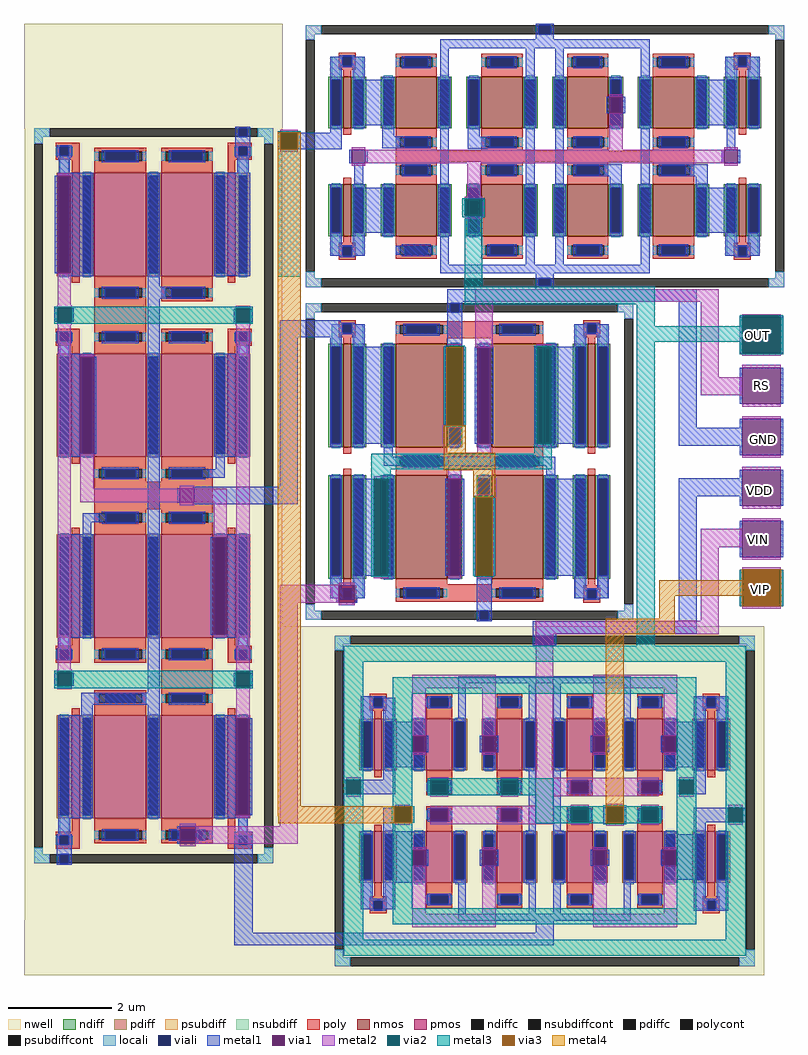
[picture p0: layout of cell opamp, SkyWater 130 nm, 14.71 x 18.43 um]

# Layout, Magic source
magic
tech sky130A
magscale 1 2
<< nwell >>
rect -2443 2244 -1441 2650
rect -1499 320 -1444 510
rect -1499 316 -1442 320
rect -1499 -624 -1242 316
rect -2440 -628 -1242 -624
rect -2441 -823 -1242 -628
rect -2442 -859 423 -823
rect -2443 -866 423 -859
rect -2443 -1036 -1276 -866
<< metal1 >>
rect -1258 2228 -1212 2253
rect -1460 2164 -1450 2228
rect -1382 2164 -1212 2228
rect -1004 1755 -865 1790
rect -461 1622 -391 1634
rect -804 1573 162 1622
rect -1452 1436 -1216 1502
rect -1452 857 -1382 1436
rect 92 1085 162 1573
rect 328 1374 338 1515
rect 488 1374 498 1515
rect 328 1177 338 1318
rect 488 1177 498 1318
rect 328 1085 338 1120
rect 92 1015 338 1085
rect 328 979 338 1015
rect 488 979 498 1120
rect 328 889 338 923
rect -1790 851 -1382 857
rect -1850 795 -1840 851
rect -1784 795 -1382 851
rect -1790 788 -1382 795
rect 92 819 338 889
rect -1234 408 -1224 475
rect -1162 408 -1152 475
rect 92 336 162 819
rect 328 782 338 819
rect 488 782 498 923
rect 328 584 338 725
rect 488 584 498 725
rect 328 394 338 535
rect 488 394 498 535
rect 379 393 449 394
rect -473 287 162 336
rect -473 285 -382 287
rect -199 -446 -189 -382
rect -121 -446 -111 -382
rect -1850 -526 -1840 -459
rect -1778 -526 -1768 -459
rect -1628 -870 -1558 -479
rect -462 -870 -392 -812
rect -1628 -919 -392 -870
<< via1 >>
rect -1450 2164 -1382 2228
rect 338 1374 488 1515
rect 338 1177 488 1318
rect 338 979 488 1120
rect -1840 795 -1784 851
rect -1224 408 -1162 475
rect 338 782 488 923
rect 338 584 488 725
rect 338 394 488 535
rect -189 -446 -121 -382
rect -1840 -526 -1778 -459
<< metal2 >>
rect -1450 2228 -1382 2238
rect -1450 2154 -1382 2164
rect -736 1969 -668 1979
rect -736 1895 -668 1905
rect -695 1573 247 1622
rect -695 1394 -627 1573
rect 177 1280 247 1573
rect 338 1515 488 1525
rect 338 1364 488 1374
rect 338 1318 488 1328
rect 177 1210 338 1280
rect 338 1167 488 1177
rect 338 1120 488 1130
rect 338 969 488 979
rect 338 923 488 933
rect -1840 851 -1784 861
rect -1840 785 -1784 795
rect 338 772 488 782
rect 338 725 488 735
rect 177 623 338 693
rect -1224 476 -1162 485
rect -1452 475 -1162 476
rect -1452 408 -1224 475
rect -1452 407 -1162 408
rect -1840 -458 -1778 -449
rect -1452 -458 -1382 407
rect -1224 398 -1162 407
rect 177 337 247 623
rect 338 574 488 584
rect 338 535 488 545
rect 338 384 488 394
rect -461 286 247 337
rect -461 -273 -393 286
rect -189 -382 -121 -372
rect -189 -456 -121 -446
rect -1840 -459 -1382 -458
rect -1778 -526 -1382 -459
rect -1840 -527 -1382 -526
rect -1840 -536 -1778 -527
<< via2 >>
rect -1450 2164 -1382 2228
rect -736 1905 -668 1969
rect 338 1374 488 1515
rect -189 -446 -121 -382
<< metal3 >>
rect -1460 2228 -1372 2233
rect -1460 2164 -1450 2228
rect -1382 2164 -1372 2228
rect -1460 1669 -1372 2164
rect -746 1969 -658 1974
rect -746 1905 -736 1969
rect -668 1905 -658 1969
rect -746 1900 -658 1905
rect -736 1632 -668 1900
rect -736 1564 0 1632
rect -70 1478 0 1564
rect 328 1515 498 1520
rect 328 1478 338 1515
rect -70 1418 338 1478
rect -70 178 0 1418
rect 328 1374 338 1418
rect 488 1374 498 1515
rect 328 1369 498 1374
rect 328 394 338 535
rect 488 394 498 535
rect -1019 -445 -1009 -381
rect -941 -445 -931 -381
rect -199 -382 -111 -377
rect -199 -446 -189 -382
rect -121 -446 -111 -382
rect -199 -451 -111 -446
<< via3 >>
rect -1450 2164 -1382 2228
rect 338 394 488 535
rect -1009 -445 -941 -381
rect -189 -446 -121 -382
<< metal4 >>
rect -1460 2228 -1372 2229
rect -1460 2164 -1450 2228
rect -1382 2164 -1372 2228
rect -1460 -380 -1372 2164
rect 337 535 489 536
rect 337 494 338 535
rect 17 434 338 494
rect 17 346 77 434
rect 337 394 338 434
rect 488 394 489 535
rect 337 393 489 394
rect -190 286 77 346
rect -1460 -381 -940 -380
rect -1460 -417 -1009 -381
rect -1459 -445 -1009 -417
rect -941 -445 -940 -381
rect -1459 -446 -940 -445
rect -190 -382 -120 286
rect -190 -446 -189 -382
rect -121 -446 -120 -382
rect -190 -447 -120 -446
use nmoscs  nmoscs_0
transform 1 0 -1090 0 1 404
box -262 -68 1006 1169
use nmosds  nmosds_0
transform -1 0 210 0 -1 2533
box -290 -116 1562 910
use pmoscs2  pmoscs2_0
transform 1 0 -979 0 -1 58
box -297 -258 1402 1094
use pmoscs  pmoscs_0
transform 1 0 -2261 0 1 366
box -179 -1003 819 1915
<< labels >>
flabel metal3 395 1444 398 1444 0 FreeSans 480 0 0 0 OUT
port 1 nsew
flabel via1 414 1250 414 1250 0 FreeSans 480 0 0 0 RS
port 2 nsew
flabel via1 420 1040 420 1040 0 FreeSans 480 0 0 0 GND
port 3 nsew
flabel via1 406 843 406 843 0 FreeSans 480 0 0 0 VDD
port 4 nsew
flabel via1 403 654 403 654 0 FreeSans 480 0 0 0 VIN
port 5 nsew
flabel via3 409 458 409 458 0 FreeSans 480 0 0 0 VIP
port 7 nsew
<< end >>

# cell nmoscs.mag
magic
tech sky130A
magscale 1 2
<< psubdiff >>
rect -262 1129 -202 1163
rect 946 1129 1006 1163
rect -262 1102 -228 1129
rect 972 1102 1006 1129
rect -262 -28 -228 -2
rect 972 -28 1006 -2
rect -262 -62 -202 -28
rect 946 -62 1006 -28
<< psubdiffcont >>
rect -202 1129 946 1163
rect -262 -2 -228 1102
rect 972 -2 1006 1102
rect -202 -62 946 -28
<< poly >>
rect -134 1082 -68 1098
rect -134 1048 -118 1082
rect -84 1048 -68 1082
rect -134 1032 -68 1048
rect -116 1006 -86 1032
rect 286 1028 458 1094
rect 812 1082 878 1098
rect 812 1048 828 1082
rect 862 1048 878 1082
rect 812 1032 878 1048
rect 270 518 474 584
rect -133 54 -67 70
rect -133 20 -117 54
rect -83 20 -67 54
rect -133 4 -67 20
rect 286 8 458 74
rect 813 54 879 70
rect 813 20 829 54
rect 863 20 879 54
rect 813 4 879 20
<< polycont >>
rect -118 1048 -84 1082
rect 828 1048 862 1082
rect -117 20 -83 54
rect 829 20 863 54
<< locali >>
rect -262 1129 -202 1163
rect 946 1129 1006 1163
rect -262 1102 -228 1129
rect 972 1102 1006 1129
rect -162 1048 -118 1082
rect -84 1048 -40 1082
rect -162 1006 -128 1048
rect -76 1032 -40 1048
rect -74 1006 -40 1032
rect 784 1048 828 1082
rect 862 1048 906 1082
rect 784 1010 818 1048
rect 870 1032 906 1048
rect 872 1010 906 1032
rect -162 70 -128 108
rect -74 70 -40 96
rect -162 54 -127 70
rect -75 54 -40 70
rect -162 20 -117 54
rect -83 20 -40 54
rect 782 54 819 108
rect 871 54 908 108
rect 782 20 829 54
rect 863 20 908 54
rect -262 -28 -228 -2
rect 972 -28 1006 -2
rect -262 -62 -202 -28
rect 946 -62 1006 -28
<< viali >>
rect 298 1129 332 1163
rect -118 1048 -84 1082
rect 828 1048 862 1082
rect -117 20 -83 54
rect 829 20 863 54
rect 412 -62 446 -28
<< metal1 >>
rect 286 1163 344 1169
rect 286 1129 298 1163
rect 332 1129 344 1163
rect -130 1082 -72 1088
rect -168 1048 -118 1082
rect -84 1081 -67 1082
rect -84 1048 -34 1081
rect -168 1042 -34 1048
rect -168 1006 -122 1042
rect -81 1032 -34 1042
rect -80 1006 -34 1032
rect 286 994 344 1129
rect 816 1082 874 1088
rect 778 1048 828 1082
rect 862 1081 879 1082
rect 862 1048 912 1081
rect 778 1042 912 1048
rect 778 1006 824 1042
rect 865 1032 912 1042
rect 866 1006 912 1032
rect -74 618 65 994
rect 279 690 289 994
rect 341 690 351 994
rect 393 618 403 994
rect 455 618 465 994
rect 624 618 634 994
rect 686 618 791 994
rect 31 606 65 618
rect 40 568 74 606
rect 40 534 704 568
rect 670 484 704 534
rect -74 108 2 484
rect 58 108 74 484
rect 279 108 289 484
rect 341 108 351 484
rect 393 108 403 412
rect 455 108 465 412
rect 670 108 818 484
rect -168 60 -122 108
rect -80 60 -34 108
rect -168 54 -34 60
rect -168 20 -117 54
rect -83 20 -34 54
rect -129 14 -71 20
rect 400 -28 458 108
rect 778 60 824 108
rect 866 60 912 108
rect 778 54 912 60
rect 778 20 829 54
rect 863 20 912 54
rect 817 14 875 20
rect 400 -62 412 -28
rect 446 -62 458 -28
rect 400 -68 458 -62
<< via1 >>
rect 289 690 341 994
rect 403 618 455 994
rect 634 618 686 994
rect 2 108 58 484
rect 289 108 341 484
rect 403 108 455 412
<< metal2 >>
rect 287 994 343 1004
rect 287 680 343 690
rect 403 994 455 1004
rect 403 572 455 618
rect 632 994 688 1004
rect 632 608 688 618
rect 289 530 455 572
rect 2 484 58 494
rect 2 98 58 108
rect 289 484 341 530
rect 289 98 341 108
rect 401 412 457 422
rect 401 98 457 108
<< via2 >>
rect 287 690 289 994
rect 289 690 341 994
rect 341 690 343 994
rect 632 618 634 994
rect 634 618 686 994
rect 686 618 688 994
rect 2 108 58 484
rect 401 108 403 412
rect 403 108 455 412
rect 455 108 457 412
<< metal3 >>
rect 277 994 353 999
rect 622 994 698 999
rect 273 690 283 994
rect 347 690 357 994
rect 277 685 353 690
rect 622 618 632 994
rect 688 618 698 994
rect 622 613 698 618
rect 622 580 690 613
rect -8 520 690 580
rect -8 484 68 520
rect -8 108 2 484
rect 58 108 68 484
rect 391 412 467 417
rect 387 108 397 412
rect 461 108 471 412
rect -8 103 68 108
rect 391 103 467 108
<< via3 >>
rect 283 690 287 994
rect 287 690 343 994
rect 343 690 347 994
rect 397 108 401 412
rect 401 108 457 412
rect 457 108 461 412
<< metal4 >>
rect 282 994 348 995
rect 282 690 283 994
rect 347 690 348 994
rect 273 585 357 690
rect 273 517 471 585
rect 387 412 471 517
rect 396 108 397 412
rect 461 108 462 412
rect 396 107 462 108
use sky130_fd_pr__nfet_01v8_4HFSKE  sky130_fd_pr__nfet_01v8_4HFSKE_0
transform 1 0 845 0 1 806
box -73 -226 73 226
use sky130_fd_pr__nfet_01v8_4HFSKE  sky130_fd_pr__nfet_01v8_4HFSKE_1
transform 1 0 -101 0 1 806
box -73 -226 73 226
use sky130_fd_pr__nfet_01v8_4HFSKE  sky130_fd_pr__nfet_01v8_4HFSKE_2
transform 1 0 -101 0 1 296
box -73 -226 73 226
use sky130_fd_pr__nfet_01v8_4HFSKE  sky130_fd_pr__nfet_01v8_4HFSKE_3
transform 1 0 845 0 1 296
box -73 -226 73 226
use sky130_fd_pr__nfet_01v8_QCS68M  sky130_fd_pr__nfet_01v8_QCS68M_0
transform 1 0 372 0 1 551
box -344 -543 344 543
<< labels >>
flabel space 153 812 161 817 0 FreeSans 320 0 0 0 M3
flabel via1 306 892 314 897 0 FreeSans 320 0 0 0 S3
flabel space 552 819 560 824 0 FreeSans 320 0 0 0 M4
flabel space 553 329 561 334 0 FreeSans 320 0 0 0 M3
flabel space 189 323 197 328 0 FreeSans 320 0 0 0 M4
flabel via1 310 394 318 399 0 FreeSans 320 0 0 0 S4
flabel via1 424 894 432 899 0 FreeSans 320 0 0 0 S4
flabel via1 426 405 434 410 0 FreeSans 320 0 0 0 S3
flabel via1 656 900 664 905 0 FreeSans 320 0 0 0 D4
flabel metal1 685 395 693 400 0 FreeSans 320 0 0 0 D3
flabel metal1 54 830 54 830 0 FreeSans 320 0 0 0 D3
flabel metal1 2 745 2 745 0 FreeSans 320 0 0 0 D3
port 1 nsew
flabel metal2 427 595 427 595 0 FreeSans 320 0 0 0 RS
port 2 nsew
flabel metal3 678 588 678 588 0 FreeSans 320 0 0 0 D4
port 4 nsew
flabel viali 431 -42 431 -42 0 FreeSans 320 0 0 0 GND
port 6 nsew
<< end >>

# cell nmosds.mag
magic
tech sky130A
magscale 1 2
<< psubdiff >>
rect -290 870 -230 904
rect 1502 870 1562 904
rect -290 844 -256 870
rect 1528 844 1562 870
rect -290 -76 -256 -54
rect 1528 -76 1562 -54
rect -290 -110 -230 -76
rect 1502 -110 1562 -76
<< psubdiffcont >>
rect -230 870 1502 904
rect -290 -54 -256 844
rect 1528 -54 1562 844
rect -230 -110 1502 -76
<< poly >>
rect -162 782 -96 798
rect -162 748 -146 782
rect -112 748 -96 782
rect -162 732 -96 748
rect 1368 782 1434 798
rect 1368 748 1384 782
rect 1418 748 1434 782
rect 1368 732 1434 748
rect 58 376 1214 418
rect -162 46 -96 62
rect -162 12 -146 46
rect -112 12 -96 46
rect -162 -4 -96 12
rect 1368 46 1434 62
rect 1368 12 1384 46
rect 1418 12 1434 46
rect 1368 -4 1434 12
<< polycont >>
rect -146 748 -112 782
rect 1384 748 1418 782
rect -146 12 -112 46
rect 1384 12 1418 46
<< locali >>
rect -290 870 -230 904
rect 1502 870 1562 904
rect -290 844 -256 870
rect 1528 844 1562 870
rect -190 748 -146 782
rect -112 748 -68 782
rect -190 710 -156 748
rect -102 710 -68 748
rect 1340 748 1384 782
rect 1418 748 1462 782
rect 1340 710 1374 748
rect 1428 710 1462 748
rect -190 46 -156 84
rect -102 46 -68 84
rect -190 12 -146 46
rect -112 12 -68 46
rect 1340 46 1374 85
rect 1428 46 1462 85
rect 1340 12 1384 46
rect 1418 12 1462 46
rect -290 -76 -256 -54
rect 1528 -76 1562 -54
rect -290 -110 -230 -76
rect 1502 -110 1562 -76
<< viali >>
rect 613 870 659 904
rect -146 748 -112 782
rect 1384 748 1418 782
rect -146 12 -112 46
rect 1384 12 1418 46
rect 613 -110 659 -76
<< metal1 >>
rect 601 904 671 910
rect 601 870 613 904
rect 659 870 671 904
rect 601 850 671 870
rect 230 816 1042 850
rect -158 782 -100 788
rect -196 748 -146 782
rect -112 748 -62 782
rect -196 742 -62 748
rect -196 706 -150 742
rect -108 706 -62 742
rect -102 518 46 694
rect 6 474 52 518
rect 6 428 81 474
rect -121 372 -111 424
rect -59 372 -49 424
rect -102 276 -68 372
rect -102 100 46 276
rect -196 52 -150 88
rect -108 52 -62 88
rect -196 46 -62 52
rect -196 12 -146 46
rect -112 12 -62 46
rect -158 6 -100 12
rect 230 -22 264 816
rect 338 474 384 518
rect 338 428 413 474
rect 325 167 335 230
rect 387 167 397 230
rect 562 -22 596 816
rect 676 -22 710 816
rect 875 564 885 627
rect 937 564 947 627
rect 859 321 934 367
rect 888 277 934 321
rect 1008 -22 1042 816
rect 1372 782 1430 788
rect 1334 748 1384 782
rect 1418 748 1468 782
rect 1334 742 1468 748
rect 1334 706 1380 742
rect 1422 706 1468 742
rect 1226 518 1374 694
rect 1340 424 1374 518
rect 1321 372 1331 424
rect 1383 372 1393 424
rect 1191 320 1266 366
rect 1220 276 1266 320
rect 1226 100 1374 276
rect 1334 52 1380 88
rect 1422 52 1468 88
rect 1334 46 1468 52
rect 1334 12 1384 46
rect 1418 12 1468 46
rect 1372 6 1430 12
rect 230 -56 1042 -22
rect 601 -76 671 -56
rect 601 -110 613 -76
rect 659 -110 671 -76
rect 601 -116 671 -110
<< via1 >>
rect -111 372 -59 424
rect 335 167 387 230
rect 885 564 937 627
rect 1331 372 1383 424
<< metal2 >>
rect 885 627 937 637
rect -111 424 -59 434
rect 885 424 937 564
rect 1331 424 1383 434
rect -59 372 1331 424
rect -111 362 -59 372
rect 335 230 387 372
rect 1331 362 1383 372
rect 335 157 387 167
use sky130_fd_pr__nfet_01v8_9C87QP  sky130_fd_pr__nfet_01v8_9C87QP_0
transform 1 0 636 0 1 397
box -636 -397 636 397
use sky130_fd_pr__nfet_01v8_SJFSNB  sky130_fd_pr__nfet_01v8_SJFSNB_0
transform 1 0 -129 0 1 188
box -73 -126 73 126
use sky130_fd_pr__nfet_01v8_SJFSNB  sky130_fd_pr__nfet_01v8_SJFSNB_1
transform 1 0 1401 0 1 188
box -73 -126 73 126
use sky130_fd_pr__nfet_01v8_SJFSNB  sky130_fd_pr__nfet_01v8_SJFSNB_2
transform 1 0 -129 0 1 606
box -73 -126 73 126
use sky130_fd_pr__nfet_01v8_SJFSNB  sky130_fd_pr__nfet_01v8_SJFSNB_3
transform 1 0 1401 0 1 606
box -73 -126 73 126
<< labels >>
flabel space 135 607 135 607 0 FreeSans 160 0 0 0 M8
flabel space 462 605 462 605 0 FreeSans 160 0 0 0 M8
flabel space 799 195 799 195 0 FreeSans 160 0 0 0 M8
flabel space 1138 195 1138 195 0 FreeSans 160 0 0 0 M8
flabel space 1128 619 1128 619 0 FreeSans 160 0 0 0 M9
flabel space 809 615 809 615 0 FreeSans 160 0 0 0 M9
flabel space 474 191 474 191 0 FreeSans 160 0 0 0 M9
flabel space 145 193 145 193 0 FreeSans 160 0 0 0 M9
flabel space 360 615 360 615 0 FreeSans 160 0 0 0 d8
flabel space 910 199 910 199 0 FreeSans 160 0 0 0 d8
flabel metal1 1245 617 1245 617 0 FreeSans 160 0 0 0 d9
flabel via1 364 193 364 193 0 FreeSans 160 0 0 0 d9
flabel metal1 31 189 31 189 0 FreeSans 160 0 0 0 d9
flabel via1 912 611 912 611 0 FreeSans 160 0 0 0 d9
flabel metal1 31 609 31 609 0 FreeSans 160 0 0 0 d8
flabel metal1 1247 195 1247 195 0 FreeSans 160 0 0 0 d8
flabel viali 626 -90 626 -90 0 FreeSans 320 0 0 0 GND
port 1 nsew
flabel metal1 1294 617 1294 617 0 FreeSans 320 0 0 0 D9
port 2 nsew
flabel metal1 1297 183 1297 183 0 FreeSans 320 0 0 0 D8
port 4 nsew
<< end >>

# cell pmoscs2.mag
magic
tech sky130A
magscale 1 2
<< nwell >>
rect -297 -258 1402 1094
<< nsubdiff >>
rect -261 1024 -201 1058
rect 1306 1024 1366 1058
rect -261 994 -227 1024
rect 1332 994 1366 1024
rect -261 -188 -227 -166
rect 1332 -188 1366 -166
rect -261 -222 -201 -188
rect 1306 -222 1366 -188
<< nsubdiffcont >>
rect -201 1024 1306 1058
rect -261 -166 -227 994
rect 1332 -166 1366 994
rect -201 -222 1306 -188
<< poly >>
rect -126 838 -60 854
rect -126 804 -110 838
rect -76 804 -60 838
rect -126 788 -60 804
rect 1165 838 1231 854
rect 1165 804 1181 838
rect 1215 804 1231 838
rect 1165 788 1231 804
rect -108 762 -78 788
rect 1182 760 1212 788
rect -108 69 -78 75
rect 1182 69 1212 100
rect -125 53 -59 69
rect -125 19 -109 53
rect -75 19 -59 53
rect -125 3 -59 19
rect 1164 53 1230 69
rect 1164 19 1180 53
rect 1214 19 1230 53
rect 1164 3 1230 19
<< polycont >>
rect -110 804 -76 838
rect 1181 804 1215 838
rect -109 19 -75 53
rect 1180 19 1214 53
<< locali >>
rect -261 1024 -201 1058
rect 1306 1024 1366 1058
rect -261 994 -227 1024
rect 1332 994 1366 1024
rect -154 804 -110 838
rect -76 804 -32 838
rect -154 736 -120 804
rect -66 736 -32 804
rect 1136 804 1181 838
rect 1215 804 1258 838
rect 1136 740 1170 804
rect 1224 738 1258 804
rect -154 53 -120 97
rect -66 53 -32 98
rect -154 19 -109 53
rect -75 19 -32 53
rect 1136 53 1170 96
rect 1224 53 1258 96
rect 1136 19 1180 53
rect 1214 19 1258 53
rect -154 13 -120 19
rect -261 -188 -227 -166
rect 1332 -188 1366 -166
rect -261 -222 -201 -188
rect 1306 -222 1366 -188
<< viali >>
rect -110 804 -76 838
rect 1181 804 1215 838
rect -109 19 -75 53
rect 1180 19 1214 53
rect 518 -222 585 -188
<< metal1 >>
rect 218 855 886 883
rect -122 838 -64 844
rect -160 804 -110 838
rect -76 804 -26 838
rect -160 798 -26 804
rect -160 724 -114 798
rect -72 736 -26 798
rect -72 724 82 736
rect 218 724 246 855
rect 490 724 518 855
rect 586 724 614 855
rect 858 724 886 855
rect 1130 838 1264 844
rect 1130 804 1181 838
rect 1215 804 1264 838
rect 1130 798 1264 804
rect 1130 730 1176 798
rect 1218 730 1264 798
rect -66 670 82 724
rect 1022 670 1170 724
rect -66 607 39 670
rect 91 607 101 670
rect 301 607 311 670
rect 363 607 373 670
rect 731 607 741 670
rect 793 607 803 670
rect 1003 607 1013 670
rect 1065 607 1170 670
rect -66 548 82 607
rect 1022 548 1170 607
rect -72 536 82 548
rect -72 444 -26 536
rect 30 444 40 500
rect 100 446 110 498
rect 178 446 188 498
rect 372 446 382 498
rect 450 446 460 498
rect -226 336 -216 392
rect -160 336 -26 392
rect 100 338 110 390
rect 178 338 188 390
rect 372 338 382 390
rect 450 338 460 390
rect -72 293 -26 336
rect 490 288 518 548
rect 586 288 614 548
rect 1130 500 1176 539
rect 644 446 654 498
rect 722 446 732 498
rect 916 446 926 498
rect 994 446 1004 498
rect 1130 444 1264 500
rect 1320 444 1330 500
rect 644 338 654 390
rect 722 338 732 390
rect 916 338 926 390
rect 994 338 1004 390
rect 1064 336 1074 392
rect 1130 300 1176 392
rect -66 229 82 288
rect 1022 229 1170 288
rect -66 166 39 229
rect 91 166 101 229
rect 301 166 311 229
rect 363 166 373 229
rect 731 166 741 229
rect 793 166 803 229
rect 1003 166 1013 229
rect 1065 166 1170 229
rect -66 112 82 166
rect 1022 112 1170 166
rect -160 59 -114 101
rect -72 59 -26 106
rect -160 53 -26 59
rect -160 19 -109 53
rect -75 19 -26 53
rect -160 13 -63 19
rect 218 -37 246 112
rect 490 -37 518 112
rect 586 -37 614 112
rect 858 -37 886 112
rect 1130 59 1176 100
rect 1218 59 1264 100
rect 1130 53 1264 59
rect 1130 19 1180 53
rect 1214 19 1264 53
rect 1130 13 1264 19
rect 218 -65 886 -37
rect 506 -188 597 -182
rect 506 -222 518 -188
rect 585 -222 597 -188
rect 506 -228 597 -222
<< via1 >>
rect 39 607 91 670
rect 311 607 363 670
rect 741 607 793 670
rect 1013 607 1065 670
rect -26 444 30 500
rect 110 446 178 498
rect 382 446 450 498
rect -216 336 -160 392
rect 110 338 178 390
rect 382 338 450 390
rect 654 446 722 498
rect 926 446 994 498
rect 1264 444 1320 500
rect 654 338 722 390
rect 926 338 994 390
rect 1074 336 1130 392
rect 39 166 91 229
rect 311 166 363 229
rect 741 166 793 229
rect 1013 166 1065 229
<< metal2 >>
rect 39 855 363 907
rect 39 670 91 855
rect 39 597 91 607
rect 311 670 363 855
rect 311 597 363 607
rect 741 855 1065 907
rect 741 670 793 855
rect 741 597 793 607
rect 1013 670 1065 855
rect 1013 597 1065 607
rect -26 500 30 510
rect 450 508 586 509
rect -26 434 30 444
rect 110 498 586 508
rect 178 446 382 498
rect 450 446 586 498
rect 110 437 586 446
rect 110 436 450 437
rect -216 392 -160 402
rect -216 326 -160 336
rect 110 392 178 402
rect 110 326 178 336
rect 382 392 450 402
rect 382 326 450 336
rect 518 401 586 437
rect 654 500 722 510
rect 654 434 722 444
rect 926 500 994 510
rect 926 434 994 444
rect 1264 500 1320 510
rect 1264 434 1320 444
rect 518 400 722 401
rect 518 390 994 400
rect 518 338 654 390
rect 722 338 926 390
rect 518 328 994 338
rect 1074 392 1130 402
rect 1074 326 1130 336
rect 39 229 91 239
rect 39 -19 91 166
rect 311 229 363 239
rect 311 -19 363 166
rect 39 -71 363 -19
rect 741 229 793 239
rect 741 -19 793 166
rect 1013 229 1065 239
rect 1013 -19 1065 166
rect 741 -71 1065 -19
<< via2 >>
rect -26 444 30 500
rect -216 336 -160 392
rect 110 390 178 392
rect 110 338 178 390
rect 110 336 178 338
rect 382 390 450 392
rect 382 338 450 390
rect 382 336 450 338
rect 654 498 722 500
rect 654 446 722 498
rect 654 444 722 446
rect 926 498 994 500
rect 926 446 994 498
rect 926 444 994 446
rect 1264 444 1320 500
rect 1074 336 1130 392
<< metal3 >>
rect -226 956 1330 1018
rect -226 392 -150 956
rect -226 336 -216 392
rect -160 336 -150 392
rect -226 -120 -150 336
rect -36 833 1140 896
rect -36 500 40 833
rect -36 444 -26 500
rect 30 444 40 500
rect -36 3 40 444
rect 518 500 1004 505
rect 518 444 654 500
rect 722 444 926 500
rect 994 444 1004 500
rect 518 439 1004 444
rect 518 397 586 439
rect 100 392 586 397
rect 100 336 110 392
rect 178 336 382 392
rect 450 336 586 392
rect 100 331 586 336
rect 1064 392 1140 833
rect 1064 336 1074 392
rect 1130 336 1140 392
rect 1064 3 1140 336
rect -36 -60 1140 3
rect 1254 500 1330 956
rect 1254 444 1264 500
rect 1320 444 1330 500
rect 1254 -120 1330 444
rect -226 -182 1330 -120
use sky130_fd_pr__pfet_01v8_2XUZHN  sky130_fd_pr__pfet_01v8_2XUZHN_0
transform 1 0 1197 0 1 636
box -109 -162 109 162
use sky130_fd_pr__pfet_01v8_2XUZHN  sky130_fd_pr__pfet_01v8_2XUZHN_1
transform 1 0 -93 0 1 200
box -109 -162 109 162
use sky130_fd_pr__pfet_01v8_2XUZHN  sky130_fd_pr__pfet_01v8_2XUZHN_2
transform 1 0 1197 0 1 200
box -109 -162 109 162
use sky130_fd_pr__pfet_01v8_2XUZHN  sky130_fd_pr__pfet_01v8_2XUZHN_3
transform 1 0 -93 0 1 636
box -109 -162 109 162
use sky130_fd_pr__pfet_01v8_FH5654  sky130_fd_pr__pfet_01v8_FH5654_0
transform 1 0 552 0 1 418
box -552 -418 552 418
<< labels >>
flabel nwell 414 651 420 652 0 FreeSans 160 0 0 0 M6
flabel nwell 688 201 694 202 0 FreeSans 160 0 0 0 M6
flabel nwell 689 641 695 642 0 FreeSans 160 0 0 0 M7
flabel nwell 414 194 420 195 0 FreeSans 160 0 0 0 M7
flabel nwell 148 201 154 202 0 FreeSans 160 0 0 0 M7
flabel via1 335 646 335 646 0 FreeSans 160 0 0 0 d6
flabel via1 63 646 63 646 0 FreeSans 160 0 0 0 d6
flabel via1 1036 196 1036 196 0 FreeSans 160 0 0 0 d6
flabel via1 768 198 768 198 0 FreeSans 160 0 0 0 d6
flabel nwell 964 646 970 647 0 FreeSans 160 0 0 0 M7
flabel nwell 962 200 968 201 0 FreeSans 160 0 0 0 M6
flabel nwell 140 648 146 649 0 FreeSans 160 0 0 0 M6
flabel nwell 550 -207 552 -206 0 FreeSans 160 0 0 0 VDD
port 8 nsew
flabel metal1 597 796 597 796 0 FreeSans 160 0 0 0 D5
port 13 nsew
flabel metal2 324 795 324 795 0 FreeSans 160 0 0 0 D6
port 22 nsew
flabel metal3 815 473 815 473 0 FreeSans 160 0 0 0 VIP
port 23 nsew
flabel via1 767 638 767 638 0 FreeSans 160 0 0 0 d7
flabel via1 331 201 331 201 0 FreeSans 160 0 0 0 d7
flabel metal2 331 53 331 53 0 FreeSans 160 0 0 0 OUT
port 26 nsew
flabel metal2 276 473 276 473 0 FreeSans 160 0 0 0 VIN
port 28 nsew
flabel via1 1043 649 1043 649 0 FreeSans 160 0 0 0 d7
<< end >>

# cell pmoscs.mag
magic
tech sky130A
magscale 1 2
<< nwell >>
rect -179 -1003 819 1915
<< pdiff >>
rect -52 1306 86 1706
<< nsubdiff >>
rect -143 1845 -83 1879
rect 723 1845 783 1879
rect -143 1819 -109 1845
rect 749 1819 783 1845
rect -143 -933 -109 -907
rect 749 -933 783 -907
rect -143 -967 -83 -933
rect 723 -967 783 -933
<< nsubdiffcont >>
rect -83 1845 723 1879
rect -143 -907 -109 1819
rect 749 -907 783 1819
rect -83 -967 723 -933
<< poly >>
rect -59 1807 33 1823
rect -59 1773 -43 1807
rect -9 1773 33 1807
rect -59 1757 33 1773
rect 3 1732 33 1757
rect 607 1807 699 1823
rect 607 1773 649 1807
rect 683 1773 699 1807
rect 607 1757 699 1773
rect 607 1732 637 1757
rect 91 1103 291 1209
rect -59 1087 33 1103
rect -59 1053 -43 1087
rect -9 1053 33 1087
rect -59 1037 33 1053
rect 3 1032 33 1037
rect 607 1087 699 1103
rect 607 1053 649 1087
rect 683 1053 699 1087
rect 607 1037 699 1053
rect 607 1032 637 1037
rect 91 403 549 509
rect 3 -125 33 -120
rect -59 -141 33 -125
rect -59 -175 -43 -141
rect -9 -175 33 -141
rect -59 -191 33 -175
rect 607 -125 637 -120
rect 607 -141 699 -125
rect 607 -175 649 -141
rect 683 -175 699 -141
rect 607 -191 699 -175
rect 349 -297 549 -191
rect 3 -845 33 -820
rect -59 -861 33 -845
rect -59 -895 -43 -861
rect -9 -895 33 -861
rect -59 -911 33 -895
rect 607 -845 637 -820
rect 607 -861 699 -845
rect 607 -895 649 -861
rect 683 -895 699 -861
rect 607 -911 699 -895
<< polycont >>
rect -43 1773 -9 1807
rect 649 1773 683 1807
rect -43 1053 -9 1087
rect 649 1053 683 1087
rect -43 -175 -9 -141
rect 649 -175 683 -141
rect -43 -895 -9 -861
rect 649 -895 683 -861
<< locali >>
rect -143 1845 -83 1879
rect 723 1845 783 1879
rect -143 1819 -109 1845
rect 749 1819 783 1845
rect -59 1773 -43 1807
rect -9 1773 7 1807
rect 633 1773 649 1807
rect 683 1773 699 1807
rect -43 1710 -9 1773
rect 649 1706 683 1773
rect -59 1053 -43 1087
rect -9 1053 7 1087
rect 633 1053 649 1087
rect 683 1053 699 1087
rect -43 1010 -9 1053
rect 649 1010 683 1053
rect -43 -141 -9 -98
rect 649 -141 683 -98
rect -59 -175 -43 -141
rect -9 -175 7 -141
rect 633 -175 649 -141
rect 683 -175 699 -141
rect -43 -861 -9 -798
rect 649 -861 683 -798
rect -59 -895 -43 -861
rect -9 -895 7 -861
rect 633 -895 649 -861
rect 683 -895 699 -861
rect -143 -933 -109 -907
rect 749 -933 783 -907
rect -143 -967 -83 -933
rect 723 -967 783 -933
<< viali >>
rect 649 1845 683 1879
rect -43 1773 -9 1807
rect 649 1773 683 1807
rect -43 1053 -9 1087
rect 649 1053 683 1087
rect -43 -175 -9 -141
rect 649 -175 683 -141
rect -43 -895 -9 -861
rect 649 -895 683 -861
rect -43 -967 -9 -933
<< metal1 >>
rect 637 1879 695 1885
rect 637 1845 649 1879
rect 683 1845 695 1879
rect -55 1807 3 1813
rect -55 1773 -43 1807
rect -9 1773 3 1807
rect -55 1767 3 1773
rect 637 1807 695 1845
rect 637 1773 649 1807
rect 683 1773 695 1807
rect 637 1767 695 1773
rect -49 1757 -3 1767
rect -48 1706 -4 1757
rect 643 1707 689 1767
rect -52 1694 86 1706
rect -62 1318 -52 1694
rect 0 1318 86 1694
rect -52 1306 86 1318
rect 297 1265 343 1706
rect 556 1307 694 1707
rect 297 1219 378 1265
rect -62 1129 -52 1181
rect 0 1129 10 1181
rect -55 1087 3 1093
rect -55 1053 -43 1087
rect -9 1053 3 1087
rect -55 1047 3 1053
rect -49 1006 -3 1047
rect -52 994 86 1006
rect -52 618 36 994
rect 88 618 98 994
rect -52 606 86 618
rect 45 353 137 387
rect 45 306 79 353
rect -52 -94 86 306
rect -49 -135 -3 -94
rect -55 -141 3 -135
rect -55 -175 -43 -141
rect -9 -175 3 -141
rect -55 -181 3 -175
rect -62 -281 -52 -229
rect 0 -281 10 -229
rect 297 -307 343 1219
rect 630 1128 640 1180
rect 692 1128 702 1180
rect 637 1087 695 1093
rect 637 1053 649 1087
rect 683 1053 695 1087
rect 637 1047 695 1053
rect 643 1006 689 1047
rect 555 606 693 1006
rect 561 559 595 606
rect 510 525 595 559
rect 552 294 690 306
rect 542 -82 552 294
rect 604 -82 690 294
rect 552 -94 690 -82
rect 646 -125 686 -94
rect 643 -135 689 -125
rect 637 -141 695 -135
rect 637 -175 649 -141
rect 683 -175 695 -141
rect 637 -181 695 -175
rect 630 -282 640 -230
rect 692 -282 702 -230
rect 39 -353 343 -307
rect 39 -394 85 -353
rect -49 -794 85 -394
rect 297 -794 343 -353
rect 555 -406 689 -394
rect 555 -782 640 -406
rect 692 -782 702 -406
rect 555 -794 689 -782
rect -49 -855 -3 -794
rect 647 -845 685 -794
rect 643 -855 689 -845
rect -55 -861 3 -855
rect -55 -895 -43 -861
rect -9 -895 3 -861
rect -55 -933 3 -895
rect 637 -861 695 -855
rect 637 -895 649 -861
rect 683 -895 695 -861
rect 637 -901 695 -895
rect -55 -967 -43 -933
rect -9 -967 3 -933
rect -55 -973 3 -967
<< via1 >>
rect -52 1318 0 1694
rect -52 1129 0 1181
rect 36 618 88 994
rect -52 -281 0 -229
rect 640 1128 692 1180
rect 552 -82 604 294
rect 640 -282 692 -230
rect 640 -782 692 -406
<< metal2 >>
rect -52 1694 0 1704
rect -52 1193 0 1318
rect -54 1183 2 1193
rect -54 1117 2 1127
rect 638 1182 694 1192
rect -52 -217 0 1117
rect 638 1116 694 1126
rect 36 994 88 1004
rect 36 482 88 618
rect 36 430 604 482
rect 552 294 604 430
rect 552 -92 604 -82
rect -54 -227 2 -217
rect 640 -218 692 1116
rect -54 -293 2 -283
rect 638 -228 694 -218
rect 638 -294 694 -284
rect 640 -406 692 -294
rect 640 -792 692 -782
<< via2 >>
rect -54 1181 2 1183
rect -54 1129 -52 1181
rect -52 1129 0 1181
rect 0 1129 2 1181
rect -54 1127 2 1129
rect 638 1180 694 1182
rect 638 1128 640 1180
rect 640 1128 692 1180
rect 692 1128 694 1180
rect 638 1126 694 1128
rect -54 -229 2 -227
rect -54 -281 -52 -229
rect -52 -281 0 -229
rect 0 -281 2 -229
rect -54 -283 2 -281
rect 638 -230 694 -228
rect 638 -282 640 -230
rect 640 -282 692 -230
rect 692 -282 694 -230
rect 638 -284 694 -282
<< metal3 >>
rect -64 1183 704 1188
rect -64 1127 -54 1183
rect 2 1182 704 1183
rect 2 1127 638 1182
rect -64 1126 638 1127
rect 694 1126 704 1182
rect -64 1121 704 1126
rect -64 -227 704 -222
rect -64 -283 -54 -227
rect 2 -228 704 -227
rect 2 -283 638 -228
rect -64 -284 638 -283
rect 694 -284 704 -228
rect -64 -289 704 -284
use sky130_fd_pr__pfet_01v8_2ZH9AN  sky130_fd_pr__pfet_01v8_2ZH9AN_0
transform 1 0 622 0 1 806
box -109 -262 109 262
use sky130_fd_pr__pfet_01v8_2ZH9AN  sky130_fd_pr__pfet_01v8_2ZH9AN_1
transform 1 0 18 0 1 -594
box -109 -262 109 262
use sky130_fd_pr__pfet_01v8_2ZH9AN  sky130_fd_pr__pfet_01v8_2ZH9AN_2
transform 1 0 622 0 1 -594
box -109 -262 109 262
use sky130_fd_pr__pfet_01v8_2ZH9AN  sky130_fd_pr__pfet_01v8_2ZH9AN_3
transform 1 0 622 0 1 106
box -109 -262 109 262
use sky130_fd_pr__pfet_01v8_2ZH9AN  sky130_fd_pr__pfet_01v8_2ZH9AN_4
transform 1 0 18 0 1 106
box -109 -262 109 262
use sky130_fd_pr__pfet_01v8_2ZH9AN  sky130_fd_pr__pfet_01v8_2ZH9AN_5
transform 1 0 622 0 1 1506
box -109 -262 109 262
use sky130_fd_pr__pfet_01v8_2ZH9AN  sky130_fd_pr__pfet_01v8_2ZH9AN_6
transform 1 0 18 0 1 1506
box -109 -262 109 262
use sky130_fd_pr__pfet_01v8_2ZH9AN  sky130_fd_pr__pfet_01v8_2ZH9AN_7
transform 1 0 18 0 1 806
box -109 -262 109 262
use sky130_fd_pr__pfet_01v8_SDE6B7  sky130_fd_pr__pfet_01v8_SDE6B7_0
transform 1 0 320 0 1 1506
box -323 -300 323 300
use sky130_fd_pr__pfet_01v8_SDE6B7  sky130_fd_pr__pfet_01v8_SDE6B7_1
transform 1 0 320 0 1 806
box -323 -300 323 300
use sky130_fd_pr__pfet_01v8_SDE6B7  sky130_fd_pr__pfet_01v8_SDE6B7_2
transform 1 0 320 0 1 106
box -323 -300 323 300
use sky130_fd_pr__pfet_01v8_SDE6B7  sky130_fd_pr__pfet_01v8_SDE6B7_3
transform 1 0 320 0 1 -594
box -323 -300 323 300
<< labels >>
flabel nwell -27 1593 -27 1593 0 FreeSans 160 0 0 0 D5
flabel nwell 20 1521 22 1521 0 FreeSans 160 0 0 0 D
flabel nwell 60 1599 60 1599 0 FreeSans 160 0 0 0 D5
flabel nwell 188 1509 188 1509 0 FreeSans 160 0 0 0 M5
flabel nwell 320 1589 320 1589 0 FreeSans 160 0 0 0 S
flabel nwell 454 1505 454 1505 0 FreeSans 160 0 0 0 D
flabel nwell 576 1599 576 1599 0 FreeSans 160 0 0 0 S
flabel nwell 620 1507 620 1507 0 FreeSans 160 0 0 0 D
flabel nwell 666 1601 666 1601 0 FreeSans 160 0 0 0 S
flabel nwell -26 919 -26 919 0 FreeSans 160 0 0 0 D1
flabel nwell 16 817 16 817 0 FreeSans 160 0 0 0 D
flabel nwell 188 813 188 813 0 FreeSans 160 0 0 0 M1
flabel nwell 320 907 320 907 0 FreeSans 160 0 0 0 S
flabel nwell 456 811 456 811 0 FreeSans 160 0 0 0 M2
flabel nwell 664 901 664 901 0 FreeSans 160 0 0 0 D2
flabel nwell -26 193 -26 193 0 FreeSans 160 0 0 0 D2
flabel nwell 20 79 20 79 0 FreeSans 160 0 0 0 D
flabel nwell 60 195 60 195 0 FreeSans 160 0 0 0 D2
flabel nwell 188 81 188 81 0 FreeSans 160 0 0 0 M2
flabel nwell 318 181 318 181 0 FreeSans 160 0 0 0 S
flabel nwell 450 91 450 91 0 FreeSans 160 0 0 0 M1
flabel nwell 618 99 618 99 0 FreeSans 160 0 0 0 D
flabel nwell 666 173 666 173 0 FreeSans 160 0 0 0 D1
flabel nwell -24 -505 -24 -505 0 FreeSans 160 0 0 0 S
flabel nwell 18 -581 18 -581 0 FreeSans 160 0 0 0 D
flabel nwell 62 -495 62 -495 0 FreeSans 160 0 0 0 S
flabel nwell 166 -581 166 -581 0 FreeSans 160 0 0 0 D
flabel nwell 322 -503 322 -503 0 FreeSans 160 0 0 0 S
flabel nwell 456 -579 456 -579 0 FreeSans 160 0 0 0 M5
flabel nwell 574 -479 574 -479 0 FreeSans 160 0 0 0 D5
flabel nwell 620 -575 620 -575 0 FreeSans 160 0 0 0 D
flabel nwell 666 -475 666 -475 0 FreeSans 160 0 0 0 D5
flabel nwell 64 921 64 921 0 FreeSans 160 0 0 0 D1
flabel metal1 653 1830 662 1835 0 FreeSans 160 0 0 0 vdd
port 2 nsew
flabel metal2 62 548 71 553 0 FreeSans 160 0 0 0 d1
port 3 nsew
flabel metal1 577 559 586 564 0 FreeSans 160 0 0 0 d2
port 4 nsew
flabel metal2 672 504 681 509 0 FreeSans 160 0 0 0 d5
port 5 nsew
<< end >>

# cell sky130_fd_pr__pfet_01v8_2ZH9AN: kit device sky130_fd_pr__pfet_01v8, w 2 l 0.15 m 1 nf 1 diffcov 100 polycov 100 guard 0 glc 1 grc 1 gtc 1 gbc 1 tbcov 100 rlcov 100 topc 0 botc 0 poverlap 0 doverlap 1 lmin 0.15 wmin 0.42 compatible {sky130_fd_pr__pfet_01v8 sky130_fd_pr__pfet_01v8_lvt sky130_fd_pr__pfet_01v8_hvt sky130_fd_pr__pfet_g5v0d10v5} full_metal 1 viasrc 100 viadrn 100 viagate 100 viagb 0 viagr 0 viagl 0 viagt 0

# cell sky130_fd_pr__pfet_01v8_SDE6B7: kit device sky130_fd_pr__pfet_01v8, w 2 l 1 m 1 nf 2 diffcov 100 polycov 100 guard 0 glc 1 grc 1 gtc 1 gbc 1 tbcov 100 rlcov 100 topc 1 botc 1 poverlap 0 doverlap 1 lmin 0.15 wmin 0.42 compatible {sky130_fd_pr__pfet_01v8 sky130_fd_pr__pfet_01v8_lvt sky130_fd_pr__pfet_01v8_hvt sky130_fd_pr__pfet_g5v0d10v5} full_metal 1 viasrc 100 viadrn 100 viagate 70 viagb 0 viagr 0 viagl 0 viagt 0

# cell sky130_fd_pr__pfet_01v8_2XUZHN: kit device sky130_fd_pr__pfet_01v8, w 1 l 0.15 m 1 nf 1 diffcov 100 polycov 100 guard 0 glc 1 grc 1 gtc 1 gbc 1 tbcov 100 rlcov 100 topc 0 botc 0 poverlap 0 doverlap 1 lmin 0.15 wmin 0.42 compatible {sky130_fd_pr__pfet_01v8 sky130_fd_pr__pfet_01v8_lvt sky130_fd_pr__pfet_01v8_hvt sky130_fd_pr__pfet_g5v0d10v5} full_metal 1 viasrc 100 viadrn 100 viagate 100 viagb 0 viagr 0 viagl 0 viagt 0

# cell sky130_fd_pr__pfet_01v8_FH5654: kit device sky130_fd_pr__pfet_01v8, w 1 l 0.5 m 2 nf 4 diffcov 100 polycov 100 guard 0 glc 1 grc 1 gtc 1 gbc 1 tbcov 100 rlcov 100 topc 1 botc 1 poverlap 0 doverlap 0 lmin 0.15 wmin 0.42 compatible {sky130_fd_pr__pfet_01v8 sky130_fd_pr__pfet_01v8_lvt sky130_fd_pr__pfet_01v8_hvt sky130_fd_pr__pfet_g5v0d10v5} full_metal 1 viasrc 100 viadrn 100 viagate 100 viagb 0 viagr 0 viagl 0 viagt 0

# cell sky130_fd_pr__nfet_01v8_9C87QP: kit device sky130_fd_pr__nfet_01v8, w 1 l 0.8 m 2 nf 4 diffcov 100 polycov 100 guard 0 glc 1 grc 1 gtc 1 gbc 1 tbcov 100 rlcov 100 topc 1 botc 1 poverlap 0 doverlap 0 lmin 0.15 wmin 0.42 compatible {sky130_fd_pr__nfet_01v8 sky130_fd_pr__nfet_01v8_lvt sky130_fd_bs_flash__special_sonosfet_star sky130_fd_pr__nfet_g5v0d10v5 sky130_fd_pr__nfet_05v0_nvt sky130_fd_pr__nfet_03v3_nvt} full_metal 0 viasrc 100 viadrn 100 viagate 70 viagb 0 viagr 0 viagl 0 viagt 0

# cell sky130_fd_pr__nfet_01v8_SJFSNB: kit device sky130_fd_pr__nfet_01v8, w 1 l 0.15 m 1 nf 1 diffcov 100 polycov 100 guard 0 glc 1 grc 1 gtc 1 gbc 1 tbcov 100 rlcov 100 topc 0 botc 0 poverlap 0 doverlap 1 lmin 0.15 wmin 0.42 compatible {sky130_fd_pr__nfet_01v8 sky130_fd_pr__nfet_01v8_lvt sky130_fd_bs_flash__special_sonosfet_star sky130_fd_pr__nfet_g5v0d10v5 sky130_fd_pr__nfet_05v0_nvt sky130_fd_pr__nfet_03v3_nvt} full_metal 1 viasrc 100 viadrn 100 viagate 100 viagb 0 viagr 0 viagl 0 viagt 0

# cell sky130_fd_pr__nfet_01v8_4HFSKE: kit device sky130_fd_pr__nfet_01v8, w 2 l 0.15 m 1 nf 1 diffcov 100 polycov 100 guard 0 glc 1 grc 1 gtc 1 gbc 1 tbcov 100 rlcov 100 topc 0 botc 0 poverlap 0 doverlap 1 lmin 0.15 wmin 0.42 compatible {sky130_fd_pr__nfet_01v8 sky130_fd_pr__nfet_01v8_lvt sky130_fd_bs_flash__special_sonosfet_star sky130_fd_pr__nfet_g5v0d10v5 sky130_fd_pr__nfet_05v0_nvt sky130_fd_pr__nfet_03v3_nvt} full_metal 1 viasrc 100 viadrn 100 viagate 100 viagb 0 viagr 0 viagl 0 viagt 0

# cell sky130_fd_pr__nfet_01v8_QCS68M: kit device sky130_fd_pr__nfet_01v8, w 2 l 1 m 2 nf 2 diffcov 100 polycov 100 guard 0 glc 1 grc 1 gtc 1 gbc 1 tbcov 100 rlcov 100 topc 1 botc 1 poverlap 1 doverlap 0 lmin 0.15 wmin 0.42 compatible {sky130_fd_pr__nfet_01v8 sky130_fd_pr__nfet_01v8_lvt sky130_fd_bs_flash__special_sonosfet_star sky130_fd_pr__nfet_g5v0d10v5 sky130_fd_pr__nfet_05v0_nvt sky130_fd_pr__nfet_03v3_nvt} full_metal 1 viasrc 100 viadrn 100 viagate 70 viagb 0 viagr 0 viagl 0 viagt 0
